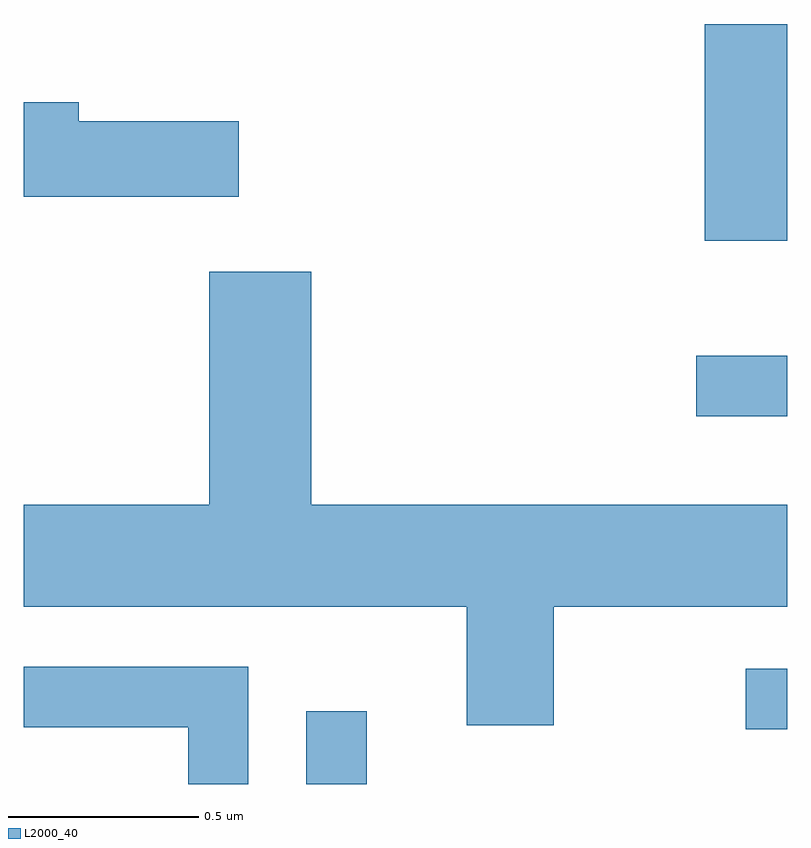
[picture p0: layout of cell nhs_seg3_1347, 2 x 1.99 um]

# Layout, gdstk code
import gdstk
lib = gdstk.Library(unit=1e-6, precision=1e-09)
def R(c, l, rs):  # rectangles x0, y0, x1, y1
    for r in rs: c.add(gdstk.rectangle(r[:2], r[2:], *l))
def P(c, l, *ps):  # polygons
    for p in ps: c.add(gdstk.Polygon(p, *l))
L2000_40 = (2000, 40)

nhs_seg3_1347 = lib.new_cell('nhs_seg3_1347')
R(nhs_seg3_1347, L2000_40, [(195.351,1229.892,195.509,1230.083), (196.503,1230.036,196.611,1230.194), (196.373,1230.856,196.611,1231.014), (196.396,1231.316,196.611,1231.884)])
P(nhs_seg3_1347, L2000_40, [(195.174,1231.629),(194.754,1231.629),(194.754,1231.679),(194.611,1231.679),(194.611,1231.431),(195.174,1231.431)],
  [(195.999,1230.356),(196.611,1230.356),(196.611,1230.624),(195.364,1230.624),(195.364,1231.234),(195.096,1231.234),(195.096,1230.624),(194.611,1230.624),(194.611,1230.356),(195.771,1230.356),(195.771,1230.046),(195.999,1230.046)],
  [(195.199,1230.199),(194.611,1230.199),(194.611,1230.041),(195.041,1230.041),(195.041,1229.892),(195.199,1229.892)])

lib.write_gds('nhs_seg3_1347.gds')
